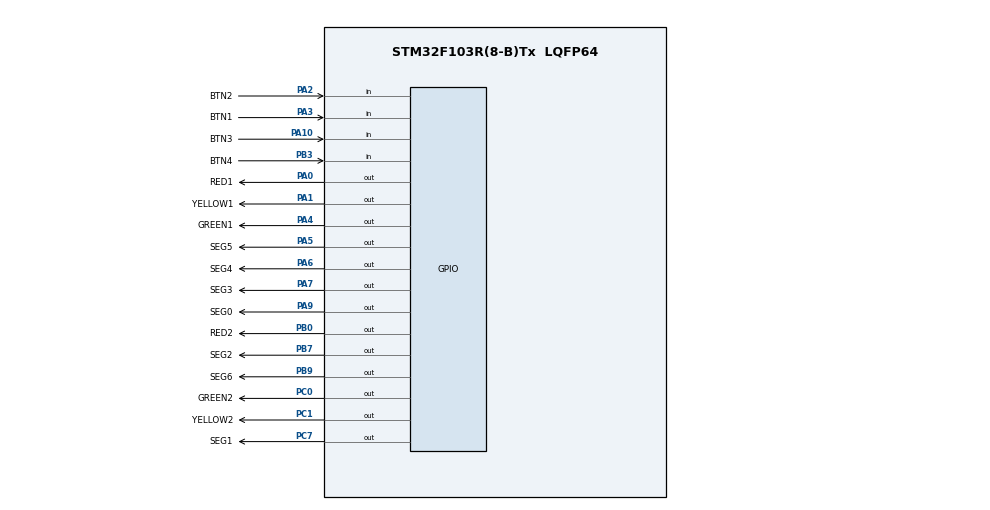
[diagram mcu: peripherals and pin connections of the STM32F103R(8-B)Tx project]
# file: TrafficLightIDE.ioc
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Mcu.Family=STM32F1
Mcu.Name=STM32F103R(8-B)Tx
Mcu.Package=LQFP64
NVIC.PriorityGroup=NVIC_PRIORITYGROUP_4
NVIC.TIM2_IRQn=true\:0\:0\:false\:false\:true\:true\:true
PA0-WKUP.GPIO_Label=RED1
PA0-WKUP.Signal=GPIO_Output
PA1.GPIO_Label=YELLOW1
PA1.Signal=GPIO_Output
PA10.GPIO_Label=BTN3
PA10.GPIO_PuPd=GPIO_PULLUP
PA10.Signal=GPIO_Input
PA2.GPIO_Label=BTN2
PA2.GPIO_PuPd=GPIO_PULLUP
PA2.Signal=GPIO_Input
PA3.GPIO_Label=BTN1
PA3.GPIO_PuPd=GPIO_PULLUP
PA3.Signal=GPIO_Input
PA4.GPIO_Label=GREEN1
PA4.Signal=GPIO_Output
PA5.GPIO_Label=SEG5
PA5.Signal=GPIO_Output
PA6.GPIO_Label=SEG4
PA6.Signal=GPIO_Output
PA7.GPIO_Label=SEG3
PA7.Signal=GPIO_Output
PA9.GPIO_Label=SEG0
PA9.Signal=GPIO_Output
PB0.GPIO_Label=RED2
PB0.Signal=GPIO_Output
PB3.GPIO_Label=BTN4
PB3.GPIO_PuPd=GPIO_PULLUP
PB3.Signal=GPIO_Input
PB7.GPIO_Label=SEG2
PB7.Signal=GPIO_Output
PB9.GPIO_Label=SEG6
PB9.Signal=GPIO_Output
PC0.GPIO_Label=GREEN2
PC0.Signal=GPIO_Output
PC1.GPIO_Label=YELLOW2
PC1.Signal=GPIO_Output
PC7.GPIO_Label=SEG1
PC7.Signal=GPIO_Output
ProjectManager.HeapSize=0x200
ProjectManager.StackSize=0x400
ProjectManager.TargetToolchain=STM32CubeIDE
RCC.APB1Freq_Value=8000000
RCC.APB2Freq_Value=8000000
TIM2.Period=9
TIM2.Prescaler=7999
VP_SYS_VS_ND.Mode=No_Debug
VP_TIM2_VS_ClockSourceINT.Mode=Internal
board=custom

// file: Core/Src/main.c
/* USER CODE BEGIN Header */
/**
  ******************************************************************************
  * @file           : main.c
  * @brief          : Main program body
  ******************************************************************************
  * @attention
  *
  * <h2><center>&copy; Copyright (c) 2023 STMicroelectronics.
  * All rights reserved.</center></h2>
  *
  * This software component is licensed by ST under BSD 3-Clause license,
  * the "License"; You may not use this file except in compliance with the
  * License. You may obtain a copy of the License at:
  *                        opensource.org/licenses/BSD-3-Clause
  *
  ******************************************************************************
  */
/* USER CODE END Header */
#include "main.h"
#include "software_timer.h"
#include "global.h"

TIM_HandleTypeDef htim2;

void SystemClock_Config(void);
static void MX_GPIO_Init(void);
static void MX_TIM2_Init(void);

/* USER CODE BEGIN 0 */
int timer0_counter = 0;
int timer0_flag = 0;
int TIMER_CYCLE = 10;
void setTimer0(int duration){
	timer0_counter = duration/TIMER_CYCLE;
	timer0_flag = 0;
}

void timer_run(){
	if (timer0_counter > 0){
		timer0_counter--;
		if (timer0_counter == 0) timer0_flag = 1;
	}
}
/* USER CODE END 0 */

int main(void)
{

  /* MCU Configuration--------------------------------------------------------*/

  /* Reset of all peripherals, Initializes the Flash interface and the Systick. */
  HAL_Init();

  /* Configure the system clock */
  SystemClock_Config();

  /* Initialize all configured peripherals */
  MX_GPIO_Init();
  MX_TIM2_Init();

  /* Infinite loop */
  while (1)
  {
	  fsm_manual_run();
  }
}

void SystemClock_Config(void)
{
  RCC_OscInitTypeDef RCC_OscInitStruct = {0};
  RCC_ClkInitTypeDef RCC_ClkInitStruct = {0};

  /** Initializes the RCC Oscillators according to the specified parameters
  * in the RCC_OscInitTypeDef structure.
  */
  RCC_OscInitStruct.OscillatorType = RCC_OSCILLATORTYPE_HSI;
  RCC_OscInitStruct.HSIState = RCC_HSI_ON;
  RCC_OscInitStruct.HSICalibrationValue = RCC_HSICALIBRATION_DEFAULT;
  RCC_OscInitStruct.PLL.PLLState = RCC_PLL_NONE;
  if (HAL_RCC_OscConfig(&RCC_OscInitStruct) != HAL_OK)
  {
    Error_Handler();
  }
  /** Initializes the CPU, AHB and APB buses clocks
  */
  RCC_ClkInitStruct.ClockType = RCC_CLOCKTYPE_HCLK|RCC_CLOCKTYPE_SYSCLK
                              |RCC_CLOCKTYPE_PCLK1|RCC_CLOCKTYPE_PCLK2;
  RCC_ClkInitStruct.SYSCLKSource = RCC_SYSCLKSOURCE_HSI;
  RCC_ClkInitStruct.AHBCLKDivider = RCC_SYSCLK_DIV1;
  RCC_ClkInitStruct.APB1CLKDivider = RCC_HCLK_DIV1;
  RCC_ClkInitStruct.APB2CLKDivider = RCC_HCLK_DIV1;

  if (HAL_RCC_ClockConfig(&RCC_ClkInitStruct, FLASH_LATENCY_0) != HAL_OK)
  {
    Error_Handler();
  }
}

static void MX_TIM2_Init(void)
{

  TIM_ClockConfigTypeDef sClockSourceConfig = {0};
  TIM_MasterConfigTypeDef sMasterConfig = {0};

  htim2.Instance = TIM2;
  htim2.Init.Prescaler = 7999;
  htim2.Init.CounterMode = TIM_COUNTERMODE_UP;
  htim2.Init.Period = 9;
  htim2.Init.ClockDivision = TIM_CLOCKDIVISION_DIV1;
  htim2.Init.AutoReloadPreload = TIM_AUTORELOAD_PRELOAD_DISABLE;
  if (HAL_TIM_Base_Init(&htim2) != HAL_OK)
  {
    Error_Handler();
  }
  sClockSourceConfig.ClockSource = TIM_CLOCKSOURCE_INTERNAL;
  if (HAL_TIM_ConfigClockSource(&htim2, &sClockSourceConfig) != HAL_OK)
  {
    Error_Handler();
  }
  sMasterConfig.MasterOutputTrigger = TIM_TRGO_RESET;
  sMasterConfig.MasterSlaveMode = TIM_MASTERSLAVEMODE_DISABLE;
  if (HAL_TIMEx_MasterConfigSynchronization(&htim2, &sMasterConfig) != HAL_OK)
  {
    Error_Handler();
  }

}

static void MX_GPIO_Init(void)
{
  GPIO_InitTypeDef GPIO_InitStruct = {0};

  /* GPIO Ports Clock Enable */
  __HAL_RCC_GPIOC_CLK_ENABLE();
  __HAL_RCC_GPIOA_CLK_ENABLE();
  __HAL_RCC_GPIOB_CLK_ENABLE();

  /*Configure GPIO pin Output Level */
  HAL_GPIO_WritePin(GPIOC, GREEN2_Pin|YELLOW2_Pin|SEG1_Pin, GPIO_PIN_RESET);

  /*Configure GPIO pin Output Level */
  HAL_GPIO_WritePin(GPIOA, RED1_Pin|YELLOW1_Pin|GREEN1_Pin|SEG5_Pin
                          |SEG4_Pin|SEG3_Pin|SEG0_Pin, GPIO_PIN_RESET);

  /*Configure GPIO pin Output Level */
  HAL_GPIO_WritePin(GPIOB, RED2_Pin|SEG2_Pin|SEG6_Pin, GPIO_PIN_RESET);

  /*Configure GPIO pins : GREEN2_Pin YELLOW2_Pin SEG1_Pin */
  GPIO_InitStruct.Pin = GREEN2_Pin|YELLOW2_Pin|SEG1_Pin;
  GPIO_InitStruct.Mode = GPIO_MODE_OUTPUT_PP;
  GPIO_InitStruct.Pull = GPIO_NOPULL;
  GPIO_InitStruct.Speed = GPIO_SPEED_FREQ_LOW;
  HAL_GPIO_Init(GPIOC, &GPIO_InitStruct);

  /*Configure GPIO pins : RED1_Pin YELLOW1_Pin GREEN1_Pin SEG5_Pin
                           SEG4_Pin SEG3_Pin SEG0_Pin */
  GPIO_InitStruct.Pin = RED1_Pin|YELLOW1_Pin|GREEN1_Pin|SEG5_Pin
                          |SEG4_Pin|SEG3_Pin|SEG0_Pin;
  GPIO_InitStruct.Mode = GPIO_MODE_OUTPUT_PP;
  GPIO_InitStruct.Pull = GPIO_NOPULL;
  GPIO_InitStruct.Speed = GPIO_SPEED_FREQ_LOW;
  HAL_GPIO_Init(GPIOA, &GPIO_InitStruct);

  /*Configure GPIO pins : BTN2_Pin BTN1_Pin BTN3_Pin */
  GPIO_InitStruct.Pin = BTN2_Pin|BTN1_Pin|BTN3_Pin;
  GPIO_InitStruct.Mode = GPIO_MODE_INPUT;
  GPIO_InitStruct.Pull = GPIO_PULLUP;
  HAL_GPIO_Init(GPIOA, &GPIO_InitStruct);

  /*Configure GPIO pins : RED2_Pin SEG2_Pin SEG6_Pin */
  GPIO_InitStruct.Pin = RED2_Pin|SEG2_Pin|SEG6_Pin;
  GPIO_InitStruct.Mode = GPIO_MODE_OUTPUT_PP;
  GPIO_InitStruct.Pull = GPIO_NOPULL;
  GPIO_InitStruct.Speed = GPIO_SPEED_FREQ_LOW;
  HAL_GPIO_Init(GPIOB, &GPIO_InitStruct);

  /*Configure GPIO pin : BTN4_Pin */
  GPIO_InitStruct.Pin = BTN4_Pin;
  GPIO_InitStruct.Mode = GPIO_MODE_INPUT;
  GPIO_InitStruct.Pull = GPIO_PULLUP;
  HAL_GPIO_Init(BTN4_GPIO_Port, &GPIO_InitStruct);

}

/* USER CODE BEGIN 4 */
void HAL_TIM_PeriodElapsedCallback(TIM_HandleTypeDef *htim){
	timerRun();
	getKeyInput(0);
	getKeyInput(1);
	getKeyInput(2);
}
/* USER CODE END 4 */

void Error_Handler(void)
{
  __disable_irq();
  while (1)
  {
  }
}

/************************ (C) COPYRIGHT STMicroelectronics *****END OF FILE****/
